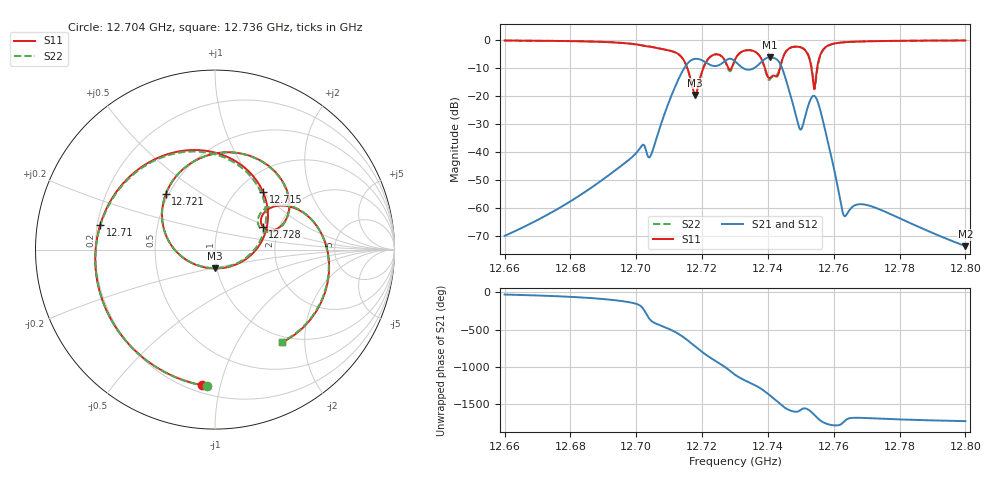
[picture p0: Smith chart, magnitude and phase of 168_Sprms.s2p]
! TOUCHSTONE file generated by CST MICROWAVE STUDIO
! Date and time: Wed Jul 31 19:21:27 2024
! Project name: WaveGuide_BPF-Ver4.1_U-shape_Ku_T3_C4_CWA_2.cst
! Parameters = {cavity_h=16; cavity_l0=10; cavity_l1=15.2041; cavity_l2=16.864; cavity_l3=17.0794; cavity_l4=17.2675; cavity_l5=17.1192; cavity_l6=17.6333; cavity_r=2.5; cavity_screw_l=0.5; cavity_screw_r=1.5; cavity_w=8; iris_h00=0; iris_h01=8.8364; iris_h112=0; iris_h12=5.5873; iris_h211=3.6549; i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
! Header version: 2018
! Port assignment regex: !\s*Touchstone port\s*([0-9]+)\s*=\s*(CST MWS port|CST DS port)\s*([0-9]+|Zmin|Zmax)\s*\(\"(.*)\"\)(\s*mode\s*([0-9]+))?.*
! Touchstone port assignment:
! Touchstone port 1 = CST MWS port 1 ("")
! Touchstone port 2 = CST MWS port 2 ("")
# GHz S RI R 50
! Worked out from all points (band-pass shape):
!   5001 points, 12.66 GHz to 12.8 GHz, reference 50 ohm
!   highest |S21| = -6.16 dB at 12.741 GHz (marker M1); lowest = -73.5 dB at 12.8 GHz (marker M2)
!   |S21| within 3 dB of the highest: 12.71505 GHz to 12.72315 GHz (8.096 MHz wide, 0.0637 % of centre); 12.7368 GHz to 12.74401 GHz (7.207 MHz wide, 0.0566 % of centre) (the widest 2 of 3)
!   lowest |S11| = -19.6 dB at 12.718 GHz (marker M3), VSWR 1.24, Z = 48.8 - j10.4 ohm
!   |S11| at or under -10 dB: 12.71553 GHz to 12.72038 GHz (4.852 MHz wide, 0.0382 % of centre); 12.73908 GHz to 12.7437 GHz (4.616 MHz wide, 0.0362 % of centre); 12.75321 GHz to 12.75495 GHz (1.743 MHz wide, 0.0137 % of centre) (the widest 3 of 4)
!   |S22| runs from -19.8 to -0.2 dB; largest |S21 - S12| = 1e-09
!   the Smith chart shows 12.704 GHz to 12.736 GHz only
!   S11 on the Smith chart (normalised r, x): 12.704 GHz: 0.25, -0.88; 12.71 GHz: 0.21, +0.10; 12.715 GHz: 1.29, +1.00; 12.721 GHz: 0.48, +0.36; 12.728 GHz: 1.64, +0.46; 12.736 GHz: 0.90, -1.57
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12.66  0.3969 0.8944  0.000285 -0.000153  0.000285 -0.000153  0.3979 0.8941
12.68335  0.8296 0.4602  0.000692 -0.00164  0.000692 -0.00164  0.8292 0.4616
12.69612  0.8231 -0.3186  -0.00295 -0.0054  -0.00295 -0.0054  0.8276 -0.3111
12.70424  -0.0697 -0.7558  0.00833 -0.000948  0.00833 -0.000948  -0.046 -0.7614
12.70668  -0.482 -0.5249  0.00774 -0.0208  0.00774 -0.0208  -0.4613 -0.5478
12.70978  -0.6401 0.1361  -0.0432 -0.0612  -0.0432 -0.0612  -0.6473 0.1019
12.71463  0.2671 0.3216  -0.1161 0.2975  -0.1161 0.2975  0.2517 0.3283
12.7179  -0.00151 -0.1052  0.4615 -0.0254  0.4615 -0.0254  -0.00972 -0.1027
12.72132  -0.2744 0.3081  -0.1914 -0.342  -0.1914 -0.342  -0.2735 0.3129
12.72471  0.2737 0.4842  -0.2902 0.1947  -0.2902 0.1947  0.2766 0.4802
12.72838  0.2657 0.1287  0.3888 0.2528  0.3888 0.2528  0.2503 0.1211
12.73  0.3739 0.2455  0.3848 -0.16  0.3848 -0.16  0.3581 0.2522
12.7356  0.3753 -0.5159  -0.2753 -0.1452  -0.2753 -0.1452  0.3749 -0.5124
12.74061  0.0321 -0.2083  0.241 0.4291  0.241 0.4291  0.0435 -0.193
12.74383  0.2449 -0.236  0.1875 -0.3147  0.1875 -0.3147  0.2537 -0.2539
12.74974  -0.4508 -0.5947  -0.0199 -0.0164  -0.0199 -0.0164  -0.453 -0.5993
12.75335  -0.2282 0.1597  -0.0936 -0.0208  -0.0936 -0.0208  -0.2677 0.1579
12.7557  0.2997 -0.4013  -0.00213 0.0622  -0.00213 0.0622  0.3064 -0.3634
12.75822  -0.1 -0.7882  0.0126 0.00872  0.0126 0.00872  -0.0852 -0.7828
12.76312  -0.6019 -0.6846  0.000255 0.000694  0.000255 0.000694  -0.5989 -0.6858
12.77668  -0.9461 -0.1809  -0.000204 0.000792  -0.000204 0.000792  -0.9463 -0.1794
12.8  -0.9374 0.293  5.26e-05 0.000205  5.26e-05 0.000205  -0.9367 0.2952
